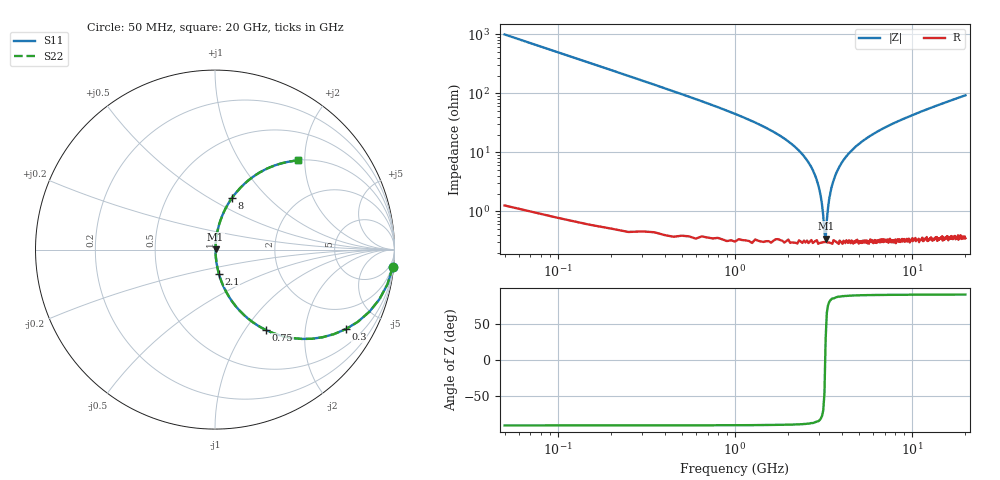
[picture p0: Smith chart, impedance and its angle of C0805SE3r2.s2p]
! AVX Thin Film Operation		Date: April 2012
! Description: Accu-P® Series, Thin Film, SMD, RF Capacitor
! Part Number: 08051J3R2ABTTR
!	50	MHz	-	20.05	GHz
!	Serial	Measurements
#	MHZ	S	MA	R	50
!	S11	S21	S12	S22
!	dB	Phase	dB	Phase	dB	Phase	dB	Phase
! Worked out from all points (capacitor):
!   400 points, 50 MHz to 20 GHz, reference 50 ohm
!   read as one part in series: C = 3.2 pF near 150 MHz
!   lowest |Z| = 347 mohm at 3.25 GHz (marker M1)
!   series resonance near 3.232 GHz, so ESL is about 760 pH
!   S11 on the Smith chart (normalised r, x): 50 MHz: 1, -20; 300 MHz: 1.01, -3.29; 750 MHz: 1.01, -1.25; 2.1 GHz: 1.01, -0.27; 8 GHz: 1.01, +0.64; 20 GHz: 1.01, +1.86
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50  0.995 -5.7  0.1 84.2  0.1 84.2  0.995 -5.7
150  0.957 -16.8  0.289 73.1  0.289 73.1  0.957 -16.8
300  0.853 -31.3  0.519 58.6  0.519 58.6  0.853 -31.3
750  0.53 -57.7  0.845 32.0  0.845 32.0  0.53 -57.7
1250  0.32 -70.8  0.945 18.6  0.945 18.6  0.32 -70.8
2100  0.135 -80.9  0.988 7.8  0.988 7.8  0.135 -80.9
2850  0.039 -83.3  0.996 2.2  0.996 2.2  0.039 -83.3
3050  0.018 -79.3  0.997 1.0  0.997 1.0  0.018 -79.3
3150  0.008481 -68.5  0.997 0.5  0.997 0.5  0.008481 -68.5
3200  0.004334 -45.2  0.997 0.2  0.997 0.2  0.004334 -45.2
3250  0.003477 28.7  0.997 -0.1  0.997 -0.1  0.003477 28.7
3300  0.007051 64.0  0.997 -0.4  0.997 -0.4  0.007051 64.0
3400  0.016 78.0  0.997 -0.9  0.997 -0.9  0.016 78.0
3700  0.042 83.4  0.996 -2.4  0.996 -2.4  0.042 83.4
4250  0.085 83.1  0.993 -4.9  0.993 -4.9  0.085 83.1
5150  0.147 80.4  0.986 -8.4  0.986 -8.4  0.147 80.4
6700  0.237 75.6  0.968 -13.7  0.968 -13.7  0.237 75.6
8000  0.303 71.8  0.95 -17.6  0.95 -17.6  0.303 71.8
10050  0.393 66.4  0.916 -23.1  0.916 -23.1  0.393 66.4
13350  0.512 58.9  0.856 -30.8  0.856 -30.8  0.512 58.9
16700  0.606 52.4  0.792 -37.3  0.792 -37.3  0.606 52.4
20000  0.679 47.0  0.732 -42.7  0.732 -42.7  0.679 47.0
